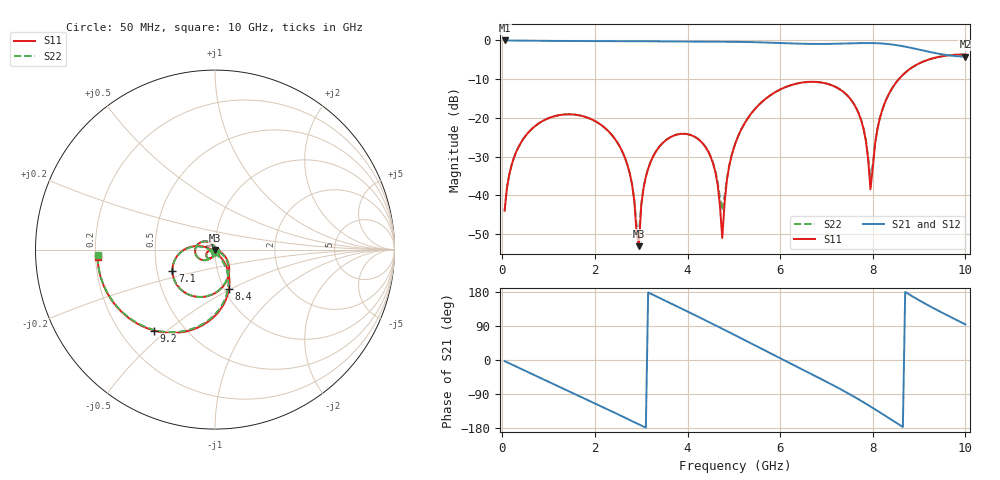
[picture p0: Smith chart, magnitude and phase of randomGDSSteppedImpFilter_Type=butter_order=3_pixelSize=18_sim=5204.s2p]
! freq	dB(S11)	phase(S11)	dB(S12)	phase(S12)
!  dB(S21)	phase(S21)	dB(S22)	phase(S22)
!S-par simulation data
#  GHz  S  DB  R 50
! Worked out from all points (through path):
!   200 points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, 50 MHz to 10 GHz, reference 50 ohm
!   highest |S21| = -0.01 dB at 50 MHz (marker M1); lowest = -4.2 dB at 10 GHz (marker M2)
!   group delay of S21, straight-line fit = 174 ps
!   lowest |S11| = -53.1 dB at 2.95 GHz (marker M3), VSWR 1.00, Z = 50 - j0.221 ohm
!   |S11| at or under -10 dB: start of sweep to 8.562 GHz
!   |S22| runs from -49.9 to -3.7 dB; largest |S21 - S12| = 0
!   S11 on the Smith chart (normalised r, x): 50 MHz: 1.00, -0.01; 7.1 GHz: 0.60, -0.16; 8.4 GHz: 1.05, -0.49; 9.2 GHz: 0.34, -0.45; 10 GHz: 0.21, -0.03
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0.05  -43.93 -90.6  -0.01 -2.9  -0.01 -2.9  -43.93 -90.6
0.55  -23.92 -122.1  -0.06 -31.7  -0.06 -31.7  -23.92 -122.2
1.75  -19.57 169.1  -0.16 -100.2  -0.16 -100.2  -19.57 168.5
2.6  -28.89 120.4  -0.18 -149.4  -0.18 -149.4  -28.89 117.0
2.95  -53.08 -94.8  -0.20 -169.9  -0.20 -169.9  -49.86 -32.1
3.1  -35.20 -90.1  -0.22 -178.7  -0.22 -178.7  -35.08 -81.0
3.4  -27.30 -107.0  -0.25 163.6  -0.25 163.6  -27.26 -102.8
4.4  -27.72 -164.2  -0.32 103.9  -0.32 103.9  -27.64 -158.7
4.65  -37.16 -173.1  -0.33 88.7  -0.33 88.7  -36.46 -157.6
4.75  -50.97 -98.4  -0.33 82.5  -0.33 82.5  -43.83 -97.0
4.85  -36.11 -22.2  -0.34 76.4  -0.34 76.4  -35.55 -36.1
5.05  -25.99 -29.0  -0.36 63.9  -0.36 63.9  -25.93 -33.5
5.85  -13.66 -76.8  -0.61 13.8  -0.61 13.8  -13.66 -77.6
6.7  -10.67 -128.6  -0.90 -38.7  -0.90 -38.7  -10.67 -128.7
7.1  -11.50 -153.0  -0.88 -63.8  -0.88 -63.8  -11.49 -152.9
7.7  -18.95 169.9  -0.69 -104.2  -0.69 -104.2  -18.92 171.5
7.95  -38.42 -141.6  -0.67 -122.6  -0.67 -122.6  -35.96 -138.2
8.1  -22.89 -52.7  -0.72 -134.1  -0.72 -134.1  -22.81 -56.9
8.35  -13.77 -66.8  -0.95 -153.5  -0.95 -153.5  -13.76 -68.6
8.4  -12.70 -70.3  -1.02 -157.4  -1.02 -157.4  -12.69 -72.0
9.2  -4.96 -127.0  -2.89 144.0  -2.89 144.0  -4.96 -128.0
10  -3.67 -176.2  -4.16 93.9  -4.16 93.9  -3.67 -177.3
